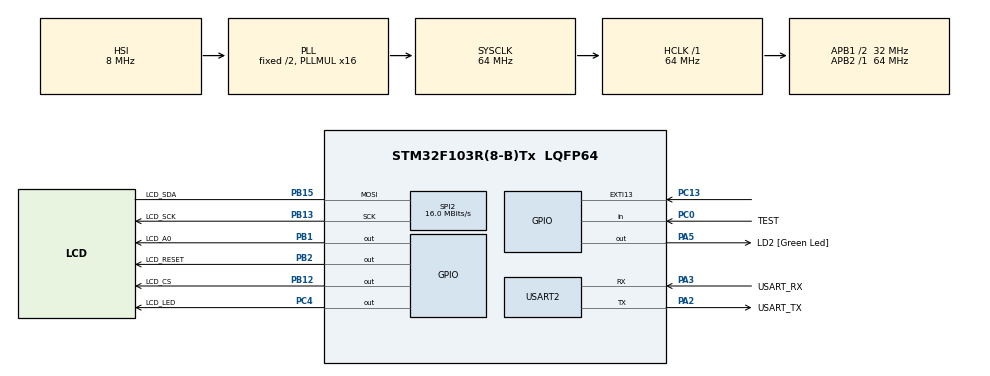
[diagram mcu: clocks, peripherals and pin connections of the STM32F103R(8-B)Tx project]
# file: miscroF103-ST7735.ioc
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Dma.Request0=SPI2_TX
Dma.Request1=USART2_RX
Dma.Request2=USART2_TX
Dma.SPI2_TX.0.Direction=DMA_MEMORY_TO_PERIPH
Dma.SPI2_TX.0.Instance=DMA1_Channel5
Dma.SPI2_TX.0.MemDataAlignment=DMA_MDATAALIGN_HALFWORD
Dma.SPI2_TX.0.MemInc=DMA_MINC_DISABLE
Dma.SPI2_TX.0.Mode=DMA_NORMAL
Dma.SPI2_TX.0.PeriphDataAlignment=DMA_PDATAALIGN_HALFWORD
Dma.SPI2_TX.0.PeriphInc=DMA_PINC_DISABLE
Dma.SPI2_TX.0.Priority=DMA_PRIORITY_MEDIUM
Dma.USART2_RX.1.Direction=DMA_PERIPH_TO_MEMORY
Dma.USART2_RX.1.Instance=DMA1_Channel6
Dma.USART2_RX.1.MemDataAlignment=DMA_MDATAALIGN_BYTE
Dma.USART2_RX.1.MemInc=DMA_MINC_ENABLE
Dma.USART2_RX.1.Mode=DMA_CIRCULAR
Dma.USART2_RX.1.PeriphDataAlignment=DMA_PDATAALIGN_BYTE
Dma.USART2_RX.1.PeriphInc=DMA_PINC_DISABLE
Dma.USART2_RX.1.Priority=DMA_PRIORITY_MEDIUM
Dma.USART2_TX.2.Direction=DMA_MEMORY_TO_PERIPH
Dma.USART2_TX.2.Instance=DMA1_Channel7
Dma.USART2_TX.2.MemDataAlignment=DMA_MDATAALIGN_BYTE
Dma.USART2_TX.2.MemInc=DMA_MINC_ENABLE
Dma.USART2_TX.2.Mode=DMA_NORMAL
Dma.USART2_TX.2.PeriphDataAlignment=DMA_PDATAALIGN_BYTE
Dma.USART2_TX.2.PeriphInc=DMA_PINC_DISABLE
Dma.USART2_TX.2.Priority=DMA_PRIORITY_LOW
Mcu.Family=STM32F1
Mcu.Name=STM32F103R(8-B)Tx
Mcu.Package=LQFP64
NVIC.DMA1_Channel5_IRQn=true\:0\:0\:false\:false\:true
NVIC.DMA1_Channel6_IRQn=true\:0\:0\:false\:false\:true
NVIC.DMA1_Channel7_IRQn=true\:0\:0\:false\:false\:true
NVIC.EXTI15_10_IRQn=true\:0\:0\:false\:false\:true
NVIC.PriorityGroup=NVIC_PRIORITYGROUP_4
NVIC.RTC_IRQn=true\:0\:0\:false\:false\:true
NVIC.USART2_IRQn=true\:0\:0\:false\:false\:true
PA13.GPIO_Label=TMS
PA13.Mode=Serial_Wire
PA13.Signal=SYS_JTMS-SWDIO
PA14.GPIO_Label=TCK
PA14.Mode=Serial_Wire
PA14.Signal=SYS_JTCK-SWCLK
PA2.GPIO_Label=USART_TX
PA2.GPIO_Mode=GPIO_MODE_AF_PP
PA2.GPIO_PuPd=GPIO_NOPULL
PA2.GPIO_Speed=GPIO_SPEED_FREQ_LOW
PA2.Mode=Asynchronous
PA2.Signal=USART2_TX
PA3.GPIO_Label=USART_RX
PA3.GPIO_Mode=GPIO_MODE_AF_PP
PA3.GPIO_PuPd=GPIO_NOPULL
PA3.GPIO_Speed=GPIO_SPEED_FREQ_LOW
PA3.Mode=Asynchronous
PA3.Signal=USART2_RX
PA5.GPIO_Label=LD2 [Green Led]
PA5.GPIO_ModeDefaultOutputPP=GPIO_MODE_OUTPUT_PP
PA5.GPIO_PuPd=GPIO_NOPULL
PA5.GPIO_Speed=GPIO_SPEED_FREQ_LOW
PA5.Signal=GPIO_Output
PB1.GPIO_Label=LCD_A0
PB1.GPIO_Speed=GPIO_SPEED_FREQ_HIGH
PB1.Signal=GPIO_Output
PB12.GPIO_Label=LCD_CS
PB12.GPIO_Speed=GPIO_SPEED_FREQ_HIGH
PB12.Signal=GPIO_Output
PB13.GPIO_Label=LCD_SCK
PB13.Mode=Simplex_Bidirectional_Master
PB13.Signal=SPI2_SCK
PB15.GPIO_Label=LCD_SDA
PB15.Mode=Simplex_Bidirectional_Master
PB15.Signal=SPI2_MOSI
PB2.GPIO_Label=LCD_RESET
PB2.GPIO_Speed=GPIO_SPEED_FREQ_HIGH
PB2.Signal=GPIO_Output
PB3.GPIO_Label=SWO
PB3.Signal=SYS_JTDO-TRACESWO
PC0.GPIO_Label=TEST
PC0.GPIO_PuPd=GPIO_PULLUP
PC0.Signal=GPIO_Input
PC13-TAMPER-RTC.Signal=GPXTI13
PC14-OSC32_IN.Mode=LSE-External-Oscillator
PC14-OSC32_IN.Signal=RCC_OSC32_IN
PC15-OSC32_OUT.Mode=LSE-External-Oscillator
PC15-OSC32_OUT.Signal=RCC_OSC32_OUT
PC4.GPIO_Label=LCD_LED
PC4.GPIO_Speed=GPIO_SPEED_FREQ_HIGH
PC4.PinState=GPIO_PIN_SET
PC4.Signal=GPIO_Output
PD0-OSC_IN.Signal=RCC_OSC_IN
PD1-OSC_OUT.Signal=RCC_OSC_OUT
ProjectManager.HeapSize=0x200
ProjectManager.StackSize=0x400
ProjectManager.TargetToolchain=SW4STM32
RCC.AHBFreq_Value=64000000
RCC.APB1CLKDivider=RCC_HCLK_DIV2
RCC.APB1Freq_Value=32000000
RCC.APB1TimFreq_Value=64000000
RCC.APB2Freq_Value=64000000
RCC.APB2TimFreq_Value=64000000
RCC.HCLKFreq_Value=64000000
RCC.PLLMUL=RCC_PLL_MUL16
RCC.SYSCLKFreq_VALUE=64000000
RCC.SYSCLKSource=RCC_SYSCLKSOURCE_PLLCLK
RCC.USBFreq_Value=64000000
SPI2.CalculateBaudRate=16.0 MBits/s
SPI2.Direction=SPI_DIRECTION_1LINE
SPI2.Mode=SPI_MODE_MASTER
SPI2.VirtualType=VM_MASTER
USART2.VirtualMode=VM_ASYNC
VP_IWDG_VS_IWDG.Mode=IWDG_Activate
VP_RTC_VS_RTC_Activate.Mode=RTC_Enabled
VP_RTC_VS_RTC_Calendar.Mode=RTC_Calendar
board=NUCLEO-F103RB

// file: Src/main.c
/**
  ******************************************************************************
  * File Name          : main.c
  * Description        : Main program body
  ******************************************************************************
  ** This notice applies to any and all portions of this file
  * that are not between comment pairs USER CODE BEGIN and
  * USER CODE END. Other portions of this file, whether
  * inserted by the user or by software development tools
  * are owned by their respective copyright owners.
  *
  * COPYRIGHT(c) 2017 STMicroelectronics
  *
  * Redistribution and use in source and binary forms, with or without modification,
  * are permitted provided that the following conditions are met:
  *   1. Redistributions of source code must retain the above copyright notice,
  *      this list of conditions and the following disclaimer.
  *   2. Redistributions in binary form must reproduce the above copyright notice,
  *      this list of conditions and the following disclaimer in the documentation
  *      and/or other materials provided with the distribution.
  *   3. Neither the name of STMicroelectronics nor the names of its contributors
  *      may be used to endorse or promote products derived from this software
  *      without specific prior written permission.
  *
  * THIS SOFTWARE IS PROVIDED BY THE COPYRIGHT HOLDERS AND CONTRIBUTORS "AS IS"
  * AND ANY EXPRESS OR IMPLIED WARRANTIES, INCLUDING, BUT NOT LIMITED TO, THE
  * IMPLIED WARRANTIES OF MERCHANTABILITY AND FITNESS FOR A PARTICULAR PURPOSE ARE
  * DISCLAIMED. IN NO EVENT SHALL THE COPYRIGHT HOLDER OR CONTRIBUTORS BE LIABLE
  * FOR ANY DIRECT, INDIRECT, INCIDENTAL, SPECIAL, EXEMPLARY, OR CONSEQUENTIAL
  * DAMAGES (INCLUDING, BUT NOT LIMITED TO, PROCUREMENT OF SUBSTITUTE GOODS OR
  * SERVICES; LOSS OF USE, DATA, OR PROFITS; OR BUSINESS INTERRUPTION) HOWEVER
  * CAUSED AND ON ANY THEORY OF LIABILITY, WHETHER IN CONTRACT, STRICT LIABILITY,
  * OR TORT (INCLUDING NEGLIGENCE OR OTHERWISE) ARISING IN ANY WAY OUT OF THE USE
  * OF THIS SOFTWARE, EVEN IF ADVISED OF THE POSSIBILITY OF SUCH DAMAGE.
  *
  ******************************************************************************
  */
#include "main.h"
#include "stm32f1xx_hal.h"
#include "dma.h"
#include "iwdg.h"
#include "rtc.h"
#include "spi.h"
#include "usart.h"
#include "gpio.h"

/* USER CODE BEGIN Includes */
#include "string.h"
#include "st7735.h"
#include "monitor.h"
/* USER CODE END Includes */

/* USER CODE BEGIN PV */
/* Private variables ---------------------------------------------------------*/
uint8_t click_cnt   = 0;
uint8_t click_state = 0;

#define CMD_SETPIXEL 1
uint8_t linebuf[64];
uint8_t linecnt = 0;

#define RXBUFSIZE 	32
uint8_t one_byte_buf = 0;
uint8_t cmdbuf[RXBUFSIZE];
uint8_t rxbuf[RXBUFSIZE];
uint8_t irx_cnt = RXBUFSIZE; // interrupt pointer
uint8_t mrx_cnt = RXBUFSIZE; // main loop pointer
uint8_t cmdbuf[RXBUFSIZE];
uint8_t fnewch = 0;
uint8_t fnewcmd = 0;
uint8_t *pcmd = NULL;
struct CMD_STRUCT{
	uint8_t		cmd;
	uint8_t		nparam;
	uint16_t	param1;
	uint16_t	param2;
	uint16_t	param3;
	uint16_t	param4;
	uint16_t	param5;
};

void Test(void);
/* USER CODE END PV */

void SystemClock_Config(void);

/* USER CODE BEGIN PFP */
/* Private function prototypes -----------------------------------------------*/

/* USER CODE END PFP */

/* USER CODE BEGIN 0 */
// -------------------- RTC, WDT ---------------------------------------------
RTC_TimeTypeDef rtc_time;
RTC_TimeTypeDef rtc_time_prev;
static int first = 1;

Disp7Type hhour ={
  			  .x = 50,
  			  .y = 30,
  			  .fcolor = LCD_RED,
  			  .bcolor = 0x0,
  			  .size = 1,
  			  .digits = 2,
  			  .data = 1234
  	  };

Disp7Type hmin ={
    			  .x = 50,
    			  .y = 30+2*(10+6*2) + 10,
    			  .fcolor = LCD_RED,
    			  .bcolor = 0x0,
    			  .size = 1,
    			  .digits = 2,
    			  .data = 1234
    	  };

Disp7Type hsec ={
    			  .x = 50,
    			  .y = 30+4*(10+6*2) + 10,
    			  .fcolor = LCD_RED,
    			  .bcolor = 0x0,
    			  .size = 0,
    			  .digits = 2,
    			  .data = 1234
    	  };

Disp7Type hclick ={
    			  .x = 100,
    			  .y = 30+4*(10+6*2) + 10,
    			  .fcolor = LCD_GREEN,
    			  .bcolor = 0x0,
    			  .size = 0,
    			  .digits = 2,
    			  .data = 1234
    	  };

Disp7Type hwd ={
    			  .x = 22,
    			  .y = 30+4*(10+6*2) + 10,
    			  .fcolor = LCD_YELLOW,
    			  .bcolor = 0x0,
    			  .size = 0,
    			  .digits = 2,
    			  .data = 1234
    	  };
uint16_t wdtcnt =0;
// ---------------------------------------------------------------------------
/* USER CODE END 0 */

int main(void)
{

  /* USER CODE BEGIN 1 */
  // check if restart after wdt
  // - do this as soon as possible before any commands
  // - clear reset source flag for prevent false reset source
  // - add eeprom emulation for store wdtcnt (AN2594)
  if (__HAL_RCC_GET_FLAG(RCC_FLAG_IWDGRST)){
	  wdtcnt++;
  }
  __HAL_RCC_CLEAR_RESET_FLAGS();
  /* USER CODE END 1 */

  /* MCU Configuration----------------------------------------------------------*/

  /* Reset of all peripherals, Initializes the Flash interface and the Systick. */
  HAL_Init();

  /* Configure the system clock */
  SystemClock_Config();

  /* Initialize all configured peripherals */
  MX_GPIO_Init();
  MX_DMA_Init();
  MX_SPI2_Init();
  MX_USART2_UART_Init();
  MX_RTC_Init();
  MX_IWDG_Init();

  /* USER CODE BEGIN 2 */
  st7735Init();
  Test();
  //HAL_UART_Receive_DMA(&huart2, aRxBuffer, sizeof(aRxBuffer));
  /* USER CODE END 2 */

  /* Infinite loop */
  /* USER CODE BEGIN WHILE */

  uint8_t cnt=0;

  // hour - minute separator
  st7735FillRect(50+10/2, 30+2*(10+6*2) + 10/2-2, 2, 2, LCD_RED);
  st7735FillRect(50+3*10/2, 30+2*(10+6*2) + 10/2-2, 2, 2, LCD_RED);
  HAL_IWDG_Start(&hiwdg);

  // WDT reset counter
  st7735DrawText(20, 30+3*(10+6*2)+7, "WD:", LCD_YELLOW, 0);
  disp7Update(&hwd, wdtcnt);
  uint8_t ch;
  HAL_UART_Receive_DMA(&huart2, &one_byte_buf, 1);
  while (1){
  /* USER CODE END WHILE */

  /* USER CODE BEGIN 3 */
	  HAL_IWDG_Refresh(&hiwdg);

	  while(!HAL_GPIO_ReadPin(GPIOC, GPIO_PIN_0));

	  HAL_RTC_GetTime(&hrtc, &rtc_time, RTC_FORMAT_BIN);

	  if(rtc_time.Hours != rtc_time_prev.Hours){
		  disp7Update(&hhour, rtc_time.Hours);
	  }
	  if(rtc_time.Minutes != rtc_time_prev.Minutes){
		  disp7Update(&hmin, rtc_time.Minutes);
	  }
	  if(rtc_time.Seconds != rtc_time_prev.Seconds){
		  disp7Update(&hsec, rtc_time.Seconds);
	  }
	  rtc_time_prev = rtc_time;

	  if(fnewcmd){
		  fnewcmd = 0;
		  strcat(cmdbuf, "\r\n");
		  HAL_UART_Transmit_DMA(&huart2, cmdbuf, strlen(cmdbuf));
		  monitor(cmdbuf);
	  }

	  //HAL_Delay(500);
	  //HAL_GPIO_TogglePin(LD2_GPIO_Port, LD2_Pin);
	  //HAL_Delay(200);
  }
  /* USER CODE END 3 */

}

/** System Clock Configuration
*/
void SystemClock_Config(void)
{

  RCC_OscInitTypeDef RCC_OscInitStruct;
  RCC_ClkInitTypeDef RCC_ClkInitStruct;
  RCC_PeriphCLKInitTypeDef PeriphClkInit;

    /**Initializes the CPU, AHB and APB busses clocks
    */
  RCC_OscInitStruct.OscillatorType = RCC_OSCILLATORTYPE_HSI|RCC_OSCILLATORTYPE_LSI;
  RCC_OscInitStruct.HSIState = RCC_HSI_ON;
  RCC_OscInitStruct.HSICalibrationValue = 16;
  RCC_OscInitStruct.LSIState = RCC_LSI_ON;
  RCC_OscInitStruct.PLL.PLLState = RCC_PLL_ON;
  RCC_OscInitStruct.PLL.PLLSource = RCC_PLLSOURCE_HSI_DIV2;
  RCC_OscInitStruct.PLL.PLLMUL = RCC_PLL_MUL16;
  if (HAL_RCC_OscConfig(&RCC_OscInitStruct) != HAL_OK)
  {
    _Error_Handler(__FILE__, __LINE__);
  }

    /**Initializes the CPU, AHB and APB busses clocks
    */
  RCC_ClkInitStruct.ClockType = RCC_CLOCKTYPE_HCLK|RCC_CLOCKTYPE_SYSCLK
                              |RCC_CLOCKTYPE_PCLK1|RCC_CLOCKTYPE_PCLK2;
  RCC_ClkInitStruct.SYSCLKSource = RCC_SYSCLKSOURCE_PLLCLK;
  RCC_ClkInitStruct.AHBCLKDivider = RCC_SYSCLK_DIV1;
  RCC_ClkInitStruct.APB1CLKDivider = RCC_HCLK_DIV2;
  RCC_ClkInitStruct.APB2CLKDivider = RCC_HCLK_DIV1;

  if (HAL_RCC_ClockConfig(&RCC_ClkInitStruct, FLASH_LATENCY_2) != HAL_OK)
  {
    _Error_Handler(__FILE__, __LINE__);
  }

  PeriphClkInit.PeriphClockSelection = RCC_PERIPHCLK_RTC;
  PeriphClkInit.RTCClockSelection = RCC_RTCCLKSOURCE_LSI;
  if (HAL_RCCEx_PeriphCLKConfig(&PeriphClkInit) != HAL_OK)
  {
    _Error_Handler(__FILE__, __LINE__);
  }

    /**Configure the Systick interrupt time
    */
  HAL_SYSTICK_Config(HAL_RCC_GetHCLKFreq()/1000);

    /**Configure the Systick
    */
  HAL_SYSTICK_CLKSourceConfig(SYSTICK_CLKSOURCE_HCLK);

  /* SysTick_IRQn interrupt configuration */
  HAL_NVIC_SetPriority(SysTick_IRQn, 0, 0);
}

/* USER CODE BEGIN 4 */
void Test(void)
{
	  st7735FillRect(0, 0, 128, 160, 0);
	  st7735FillRect(20, 20, 20, 20, 0x0000FF);
	  st7735FillRect(20, 50, 20, 20, 0x00FF00);
	  st7735FillRect(20, 80, 20, 20, 0x00F000);
	  st7735DrawRect(1, 1, 126, 158, 0xFC00, 1);

	  st7735DrawText(112, 20, "miscroLab", 0x00FF, 0);

	  st7735FillRect(90, 20, 20, 20, 1024);     // GREEN
	  st7735FillRect(90, 50, 20, 20, 31);   	// RED
	  st7735FillRect(90, 80, 20, 20, 31+1024);	// YELLOW

}

/* USER CODE END 4 */

void _Error_Handler(char * file, int line)
{
  while(1)
  {
  }
}

/************************ (C) COPYRIGHT STMicroelectronics *****END OF FILE****/
